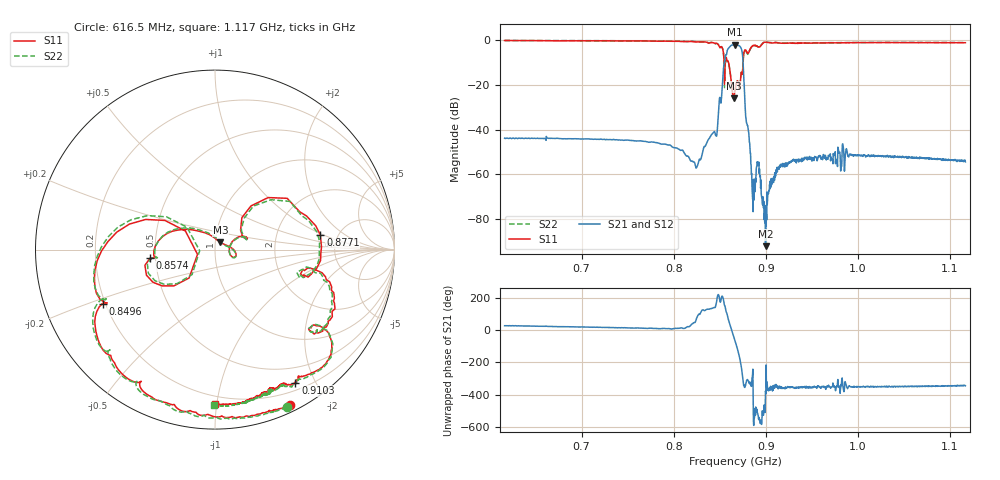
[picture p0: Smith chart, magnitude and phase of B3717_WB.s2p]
! Matrix data file written by TouchstoneData, EPCOS AG
! FILENAME: "B3717_WB.s2p"
! COMMENT: "Wide band s-parameters"
! INFO: nport=2, nfreq=1601
! DATE: "Fri Nov 29 16:31:19 2013"
! USER: "Ted Tang"
! port | pin | signal
!  1  |  2  |  in
!  2  |  5  |  out
# MHZ S MA R 50
! freq  magS11 angS11  magS21 angS21  magS12 angS12  magS22 angS22
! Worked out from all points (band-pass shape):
!   1601 points, 616.5 MHz to 1.117 GHz, reference 50 ohm
!   highest |S21| = -2.21 dB at 866.5 MHz (marker M1); lowest = -92.0 dB at 899.6 MHz (marker M2)
!   |S21| within 3 dB of the highest: 857.9 MHz to 874.1 MHz (16.26 MHz wide, 1.88 % of centre)
!   lowest |S11| = -26.0 dB at 864.9 MHz (marker M3), VSWR 1.10, Z = 52.9 + j4.25 ohm
!   |S11| at or under -10 dB: 854.6377 MHz to 855.9409 MHz (1.303 MHz wide, 0.152 % of centre); 859.4 MHz to 875.3 MHz (15.88 MHz wide, 1.83 % of centre)
!   |S22| runs from -25.9 to -0.3 dB; largest |S21 - S12| = 0.0023
!   S11 on the Smith chart (normalised r, x): 616.5 MHz: 0.07, -1.59; 849.6 MHz: 0.19, -0.22; 857.4 MHz: 0.47, -0.05; 877.1 MHz: 3.67, +0.91; 910.2 MHz: 0.29, -1.73; 1.117 GHz: 0.15, -0.99
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616.5  0.9619 -64.4  0.00642 25.9  0.006404 25.7  0.9659 -65.4
699.9375  0.9493 -74.4  0.006178 18.3  0.006169 18.2  0.9553 -74.9
783.375  0.9277 -87.8  0.005008 8.0  0.005012 7.9  0.934 -89.4
825.25  0.8967 -105.5  0.00151 77.5  0.001505 77.9  0.9049 -107.0
845.25  0.8272 -134.6  0.007638 142.2  0.007643 142.1  0.8088 -136.4
849.625  0.695 -154.4  0.04945 -164.3  0.04942 -164.4  0.692 -156.3
857.4375  0.364 -172.5  0.4828 105.7  0.4822 105.6  0.3459 -173.3
861.8125  0.1531 135.7  0.7341 17.6  0.7331 17.4  0.1495 131.2
864.9375  0.04984 53.5  0.7709 -39.0  0.7697 -39.2  0.05125 43.8
866.5  0.07311 17.4  0.7755 -66.7  0.7743 -66.9  0.07412 12.1
868.6875  0.1185 -10.6  0.7675 -108.0  0.7664 -108.1  0.12 -12.4
871.1875  0.0801 -8.8  0.7337 -163.5  0.7327 -163.6  0.08189 -10.9
874  0.1845 18.1  0.5673 105.9  0.5665 105.7  0.1842 17.2
877.125  0.5928 7.8  0.04769 4.6  0.04766 4.5  0.5847 4.6
885.875  0.7455 -26.3  0.0002591 117.9  0.0002774 116.6  0.7274 -26.7
892.125  0.6827 -40.2  0.001596 168.2  0.001604 167.6  0.6822 -40.1
897.4375  0.8597 -41.2  0.000179 -166.7  0.0001745 -167.1  0.8725 -42.0
899.625  0.8869 -47.6  2.524e-05 -16.7  2.512e-05 -1.8  0.8911 -48.4
910.25  0.8675 -58.9  0.0009691 10.8  0.0009702 10.8  0.8757 -60.2
949.9375  0.8462 -71.8  0.001981 1.3  0.001975 1.6  0.857 -72.4
1033.375  0.8653 -82.6  0.002422 10.4  0.002423 10.4  0.8704 -83.2
1116.5  0.8596 -90.0  0.001905 15.0  0.0019 14.6  0.8656 -90.2
